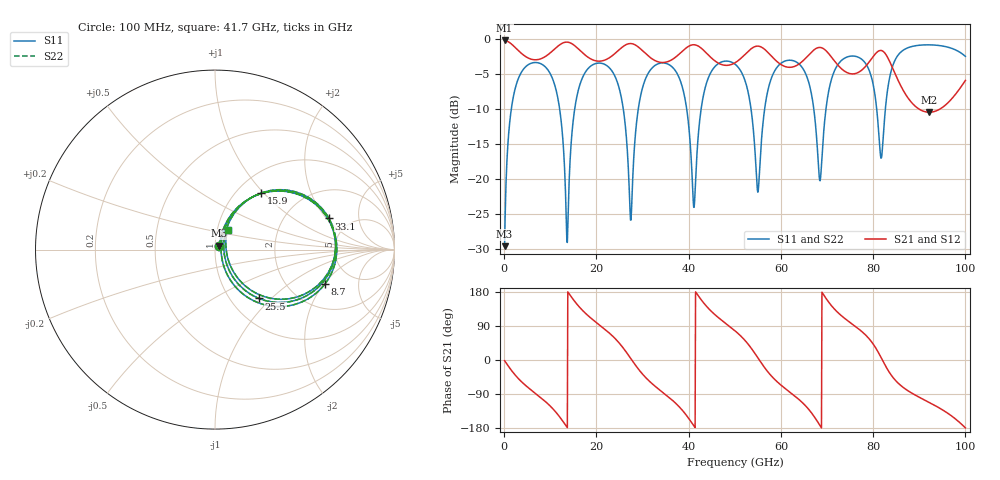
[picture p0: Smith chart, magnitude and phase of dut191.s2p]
! Touchstone file exported from HFSS 2026.1.0
!  File:  C:/ffzhzh/LocalFiles/Ansys_Project_Files/temp_train_TSV_RDL_191_1783655544_33328.aedt
!  Generated:  12:13:14 PM Jul 10, 2026
!  Design:  TSV_RDL
!  Project:  temp_train_TSV_RDL_191_1783655544_33328
! Variables:
!  h_bsmrdl = 4.35um
!  h_ox = 20um
!  h_rdl = 5um
!  h_sub = 66.79um
!  h_tmrdl = 4.55um
!  h_tsv = 66.79um
!  h_via = 3um
!  l_bsmrdl = 456.21um
!  l_sub = 4528.55um
!  l_tmrdl = 669.73um
!  m_sub = 200um
!  pitch = 58.22um
!  r_tsv = 8.66um
!  s_tmrdl = 10um
!  w_bsmrdl = 12.31um
!  w_sub = 500um
!  w_tmrdl = 14.69um
!  x_tsv_center1 = 677.075um
!  x_tsv_center2 = 1145.595um
!  x_tsv_center3 = 1830.015um
!  x_tsv_center4 = 2298.535um
!  x_tsv_center5 = 2982.955um
!  x_tsv_center6 = 3451.475um
# GHz S MA R 50.000000
! Terminal data exported
! Port[1] = TM_RDL1_1_T1
! Port[2] = TM_RDL5_1_T1
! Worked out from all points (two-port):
!   1000 points, 100 MHz to 100 GHz, reference 50 ohm
!   highest |S21| = -0.21 dB at 100 MHz (marker M1); lowest = -10.5 dB at 92.2 GHz (marker M2)
!   |S21| within 3 dB of the highest: start of sweep to 33.13 GHz; 35.6 GHz to 45.86 GHz (10.26 GHz wide, 25.2 % of centre) (the widest 2 of 5)
!   lowest |S11| = -29.6 dB at 100 MHz (marker M3), VSWR 1.07, Z = 52.5 + j2.3 ohm
!   |S11| at or under -10 dB: 12.03 GHz to 15.3 GHz (3.268 GHz wide, 23.9 % of centre); 25.82 GHz to 29.08 GHz (3.258 GHz wide, 11.9 % of centre); 39.57 GHz to 42.71 GHz (3.136 GHz wide, 7.62 % of centre) (the widest 3 of 7)
!   |S22| runs from -29.6 to -0.8 dB; largest |S21 - S12| = 1.3e-12
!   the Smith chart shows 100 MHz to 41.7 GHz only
!   S11 on the Smith chart (normalised r, x): 100 MHz: 1.05, +0.05; 8.7 GHz: 3.13, -2.05; 15.9 GHz: 1.29, +0.97; 25.5 GHz: 1.35, -0.85; 33.1 GHz: 3.47, +2.13; 41.7 GHz: 1.12, +0.25
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0.1  0.033 41.5  0.9757 -1.8  0.9757 -1.8  0.033 41.5
! Gamma 0 0 0 0
! Port Impedance 50 0 50 0
2.4  0.4435 46.7  0.8691 -39.8  0.8691 -39.8  0.4435 46.7
8.7  0.6413 -17.5  0.7411 -107.0  0.7411 -107.0  0.6413 -17.5
13.6  0.03554 -16.4  0.9496 -176.7  0.9496 -176.7  0.03562 -16.4
15.9  0.4065 50.5  0.8604 145.6  0.8604 145.6  0.4065 50.5
16.8  0.5115 39.7  0.8072 133.3  0.8072 133.3  0.5116 39.6
25.5  0.3672 -47.9  0.8684 36.6  0.8684 36.6  0.3671 -48.0
27.5  0.0507 13.9  0.9269 3.1  0.9269 3.1  0.04975 14.0
33.1  0.6583 15.3  0.6913 -73.0  0.6913 -73.0  0.6582 15.4
33.4  0.6649 12.6  0.686 -76.0  0.686 -76.0  0.6648 12.7
41.7  0.1319 58.0  0.9017 176.2  0.9017 176.2  0.1322 57.8
50.1  0.6583 -11.6  0.6771 76.6  0.6771 76.6  0.6584 -11.7
55.6  0.1536 53.4  0.88 -5.1  0.88 -5.1  0.1532 53.5
59.4  0.6414 26.6  0.6787 -59.7  0.6787 -59.7  0.6414 26.7
66.7  0.3918 -39.6  0.8092 -140.6  0.8092 -140.6  0.3919 -39.6
68.5  0.09682 10.4  0.8697 -173.3  0.8697 -173.3  0.0968 10.3
73.4  0.714 20.8  0.6019 114.0  0.6019 114.0  0.7139 20.8
79.7  0.5225 -32.8  0.7257 47.3  0.7257 47.3  0.5224 -32.9
81.7  0.1405 -0.4  0.8278 7.0  0.8278 7.0  0.1396 -0.4
83.4  0.4941 43.7  0.7103 -30.5  0.7103 -30.5  0.4939 43.8
92.2  0.9077 -22.6  0.2993 -112.3  0.2993 -112.3  0.9078 -22.5
100  0.7505 -84.1  0.505 -179.1  0.505 -179.1  0.7507 -83.9
